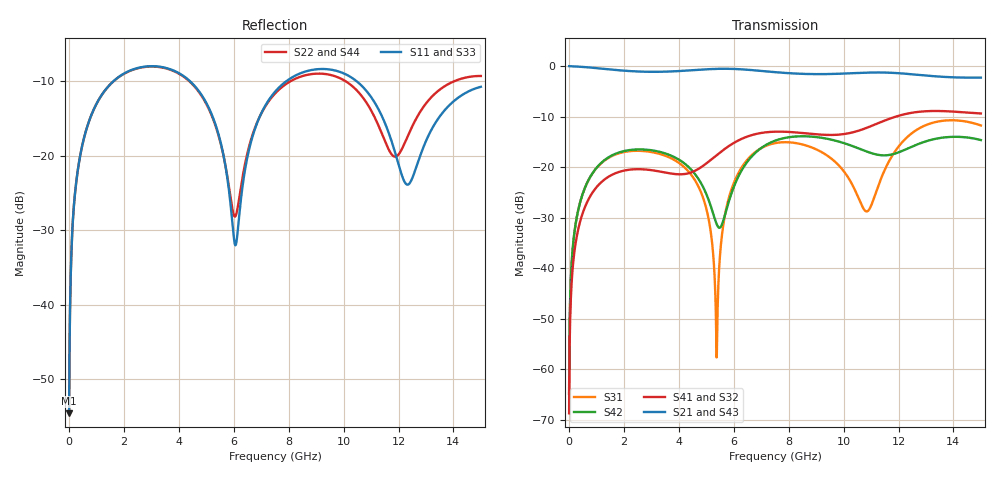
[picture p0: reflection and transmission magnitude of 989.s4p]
! Created with skrf 1.8.0 (http://scikit-rf.org).
# GHz S RI R 50.0
!freq ReS11 ImS11 ReS12 ImS12 ReS13 ImS13
! ReS14 ImS14
! ReS21 ImS21 ReS22 ImS22 ReS23 ImS23
! ReS24 ImS24
! ReS31 ImS31 ReS32 ImS32 ReS33 ImS33
! ReS34 ImS34
! ReS41 ImS41 ReS42 ImS42 ReS43 ImS43
! ReS44 ImS44
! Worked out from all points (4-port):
!   2499 points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, 5 MHz to 15 GHz, reference 50 ohm
!   strongest paths, dB at 5 MHz, 3.476 GHz, 7.19 GHz, 11.1 GHz, 15 GHz:
!     S21: 0.0, -1.1, -1.0, -1.3, -2.3
!     S43: 0.0, -1.1, -1.0, -1.3, -2.3
!     S41: -68.8, -21.0, -13.1, -11.7, -9.4
!     S32: -68.8, -21.1, -13.1, -11.7, -9.4
!     S42: -64.9, -17.2, -15.6, -17.4, -14.6
!     S31: -64.9, -17.7, -15.8, -26.3, -11.8
!   lowest |S11| = -54.6 dB at 5 MHz (marker M1), VSWR 1.00, Z = 50.1 + j0.114 ohm
!   |S11| at or under -10 dB: start of sweep to 1.621 GHz; 4.404 GHz to 7.92 GHz (3.515 GHz wide, 57.1 % of centre); 10.47 GHz to end of sweep
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0.005  0.00149 0.00113  0.9985 -0.0029  7.33e-05 0.000564  -7.14e-05 -0.000357
       0.9985 -0.0029  0.00149 0.00113  -7.14e-05 -0.000357  7.34e-05 0.000564
       7.33e-05 0.000564  -7.14e-05 -0.000357  0.00149 0.00113  0.9985 -0.0029
       -7.14e-05 -0.000357  7.34e-05 0.000564  0.9985 -0.0029  0.00149 0.00113
0.3126303  0.0204 0.0752  0.9723 -0.1808  0.00861 0.0339  -0.00742 -0.0213
           0.9723 -0.1808  0.0203 0.0752  -0.00741 -0.0213  0.00908 0.0338
           0.00861 0.0339  -0.00741 -0.0213  0.0204 0.0752  0.9723 -0.1808
           -0.00742 -0.0213  0.00908 0.0338  0.9723 -0.1808  0.0203 0.0752
1.569404  0.246 0.1884  0.6041 -0.6967  0.1092 0.0683  -0.0826 -0.0149
          0.6041 -0.6967  0.2439 0.1896  -0.0826 -0.0149  0.1158 0.0605
          0.1092 0.0683  -0.0826 -0.0149  0.246 0.1884  0.6041 -0.6967
          -0.0826 -0.0149  0.1158 0.0605  0.6041 -0.6967  0.2439 0.1896
5.377241  0.0718 -0.1352  -0.8534 -0.3909  0.00128 0.000248  -0.0506 0.1212
          -0.8534 -0.3909  0.0829 -0.1257  -0.0507 0.1211  -0.0231 -0.0145
          0.00128 0.000248  -0.0507 0.1211  0.0733 -0.1356  -0.8533 -0.3909
          -0.0506 0.1212  -0.0231 -0.0145  -0.8533 -0.3909  0.0822 -0.127
6.427678  0.0457 0.0704  -0.9128 0.1409  0.0414 0.1045  0.0437 0.1926
          -0.9128 0.1409  0.0594 0.0689  0.0435 0.1924  0.0387 0.0993
          0.0414 0.1045  0.0435 0.1924  0.0475 0.0691  -0.9129 0.1409
          0.0437 0.1926  0.0387 0.0993  -0.9129 0.1409  0.0573 0.0684
9.597749  0.3671 -0.0808  0.1026 0.8299  0.1154 -0.0278  0.1931 -0.0778
          0.1026 0.8299  0.3404 -0.0571  0.1929 -0.0764  0.0987 -0.1574
          0.1154 -0.0278  0.1929 -0.0764  0.3672 -0.084  0.1035 0.8296
          0.1931 -0.0778  0.0987 -0.1574  0.1035 0.8296  0.3407 -0.0547
15  0.2876 0.0354  0.2378 -0.7315  0.24 -0.0954  -0.3388 -0.0225
    0.2378 -0.7315  0.3416 -0.0228  -0.3367 -0.0248  0.1823 -0.0323
    0.24 -0.0954  -0.3367 -0.0248  0.2925 0.0279  0.2343 -0.7318
    -0.3388 -0.0225  0.1823 -0.0323  0.2343 -0.7318  0.3415 -0.0173
